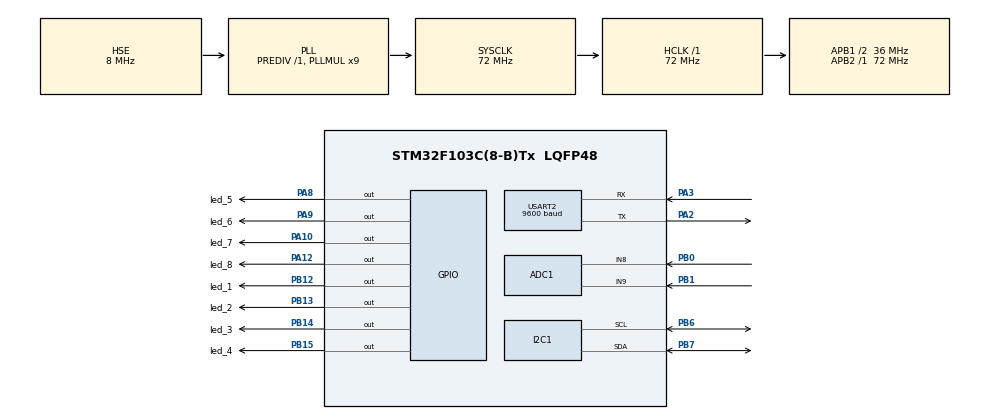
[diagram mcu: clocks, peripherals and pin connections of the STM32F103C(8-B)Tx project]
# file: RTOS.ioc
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ADC1.Channel-10\#ChannelRegularConversion=ADC_CHANNEL_9
ADC1.Channel-11\#ChannelRegularConversion=ADC_CHANNEL_TEMPSENSOR
ADC1.Channel-9\#ChannelRegularConversion=ADC_CHANNEL_8
ADC1.ContinuousConvMode=DISABLE
ADC1.DiscontinuousConvMode=DISABLE
ADC1.NbrOfConversion=3
ADC1.NbrOfConversionFlag=1
ADC1.Rank-10\#ChannelRegularConversion=2
ADC1.Rank-11\#ChannelRegularConversion=3
ADC1.Rank-9\#ChannelRegularConversion=1
ADC1.SamplingTime-10\#ChannelRegularConversion=ADC_SAMPLETIME_13CYCLES_5
ADC1.SamplingTime-11\#ChannelRegularConversion=ADC_SAMPLETIME_13CYCLES_5
ADC1.SamplingTime-9\#ChannelRegularConversion=ADC_SAMPLETIME_13CYCLES_5
ADC1.master=1
Dma.ADC1.0.Direction=DMA_PERIPH_TO_MEMORY
Dma.ADC1.0.Instance=DMA1_Channel1
Dma.ADC1.0.MemDataAlignment=DMA_MDATAALIGN_WORD
Dma.ADC1.0.MemInc=DMA_MINC_ENABLE
Dma.ADC1.0.Mode=DMA_CIRCULAR
Dma.ADC1.0.PeriphDataAlignment=DMA_PDATAALIGN_HALFWORD
Dma.ADC1.0.PeriphInc=DMA_PINC_DISABLE
Dma.ADC1.0.Priority=DMA_PRIORITY_HIGH
Dma.Request0=ADC1
FREERTOS.Mutexes01=lcdMutex,Dynamic,NULL;adcMutex,Dynamic,NULL
FREERTOS.Tasks01=Task01,0,256,StartTask01,Default,NULL,Dynamic,NULL,NULL;Task02,0,256,StartTask02,Default,NULL,Dynamic,NULL,NULL;Task03,-2,256,StartTask03,Default,NULL,Dynamic,NULL,NULL;Task04,-3,256,StartTask04,Default,NULL,Dynamic,NULL,NULL;Task05,-3,256,StartTask05,Default,NULL,Dynamic,NULL,NULL
FREERTOS.configMINIMAL_STACK_SIZE=256
FREERTOS.configTOTAL_HEAP_SIZE=15000
Mcu.Family=STM32F1
Mcu.Name=STM32F103C(8-B)Tx
Mcu.Package=LQFP48
NVIC.DMA1_Channel1_IRQn=true\:5\:0\:false\:false\:true\:true\:false\:true\:true
NVIC.PriorityGroup=NVIC_PRIORITYGROUP_4
PA10.GPIO_Label=led_7
PA10.Signal=GPIO_Output
PA12.GPIO_Label=led_8
PA12.Signal=GPIO_Output
PA13.Mode=Serial_Wire
PA13.Signal=SYS_JTMS-SWDIO
PA14.Mode=Serial_Wire
PA14.Signal=SYS_JTCK-SWCLK
PA2.Mode=Asynchronous
PA2.Signal=USART2_TX
PA3.Mode=Asynchronous
PA3.Signal=USART2_RX
PA8.GPIO_Label=led_5
PA8.Signal=GPIO_Output
PA9.GPIO_Label=led_6
PA9.Signal=GPIO_Output
PB0.Signal=ADCx_IN8
PB1.Signal=ADCx_IN9
PB12.GPIO_Label=led_1
PB12.Signal=GPIO_Output
PB13.GPIO_Label=led_2
PB13.Signal=GPIO_Output
PB14.GPIO_Label=led_3
PB14.Signal=GPIO_Output
PB15.GPIO_Label=led_4
PB15.Signal=GPIO_Output
PB6.Mode=I2C
PB6.Signal=I2C1_SCL
PB7.Mode=I2C
PB7.Signal=I2C1_SDA
PC14-OSC32_IN.Mode=LSE-External-Oscillator
PC14-OSC32_IN.Signal=RCC_OSC32_IN
PC15-OSC32_OUT.Mode=LSE-External-Oscillator
PC15-OSC32_OUT.Signal=RCC_OSC32_OUT
PD0-OSC_IN.Mode=HSE-External-Oscillator
PD0-OSC_IN.Signal=RCC_OSC_IN
PD1-OSC_OUT.Mode=HSE-External-Oscillator
PD1-OSC_OUT.Signal=RCC_OSC_OUT
ProjectManager.HeapSize=0x200
ProjectManager.StackSize=0x400
ProjectManager.TargetToolchain=Makefile
RCC.ADCPresc=RCC_ADCPCLK2_DIV6
RCC.AHBFreq_Value=72000000
RCC.APB1CLKDivider=RCC_HCLK_DIV2
RCC.APB1Freq_Value=36000000
RCC.APB1TimFreq_Value=72000000
RCC.APB2Freq_Value=72000000
RCC.APB2TimFreq_Value=72000000
RCC.HCLKFreq_Value=72000000
RCC.PLLMUL=RCC_PLL_MUL9
RCC.PLLSourceVirtual=RCC_PLLSOURCE_HSE
RCC.SYSCLKFreq_VALUE=72000000
RCC.SYSCLKSource=RCC_SYSCLKSOURCE_PLLCLK
RCC.USBFreq_Value=72000000
SH.ADCx_IN8.0=ADC1_IN8,IN8
SH.ADCx_IN9.0=ADC1_IN9,IN9
USART2.BaudRate=9600
USART2.VirtualMode=VM_ASYNC
VP_ADC1_TempSens_Input.Mode=IN-TempSens
VP_FREERTOS_VS_CMSIS_V1.Mode=CMSIS_V1
board=custom

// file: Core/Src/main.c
/* USER CODE BEGIN Header */
/**
  ******************************************************************************
  * @file           : main.c
  * @brief          : Main program body
  ******************************************************************************
  * @attention
  *
  * Copyright (c) 2024 STMicroelectronics.
  * All rights reserved.
  *
  * This software is licensed under terms that can be found in the LICENSE file
  * in the root directory of this software component.
  * If no LICENSE file comes with this software, it is provided AS-IS.
  *
  ******************************************************************************
  */
/* USER CODE END Header */
#include "main.h"
#include "cmsis_os.h"

/* USER CODE BEGIN Includes */
#include "stdio.h"
#include "string.h"
#include "semphr.h"
#include "stdbool.h"
#include "math.h"
/* USER CODE END Includes */

ADC_HandleTypeDef hadc1;
DMA_HandleTypeDef hdma_adc1;

I2C_HandleTypeDef hi2c1;

UART_HandleTypeDef huart2;

osThreadId Task01Handle;
osThreadId Task02Handle;
osThreadId Task03Handle;
osThreadId Task04Handle;
osThreadId Task05Handle;
osMutexId lcdMutexHandle;
osMutexId adcMutexHandle;

void SystemClock_Config(void);
static void MX_GPIO_Init(void);
static void MX_DMA_Init(void);
static void MX_I2C1_Init(void);
static void MX_ADC1_Init(void);
static void MX_USART2_UART_Init(void);
void StartTask01(void const * argument);
void StartTask02(void const * argument);
void StartTask03(void const * argument);
void StartTask04(void const * argument);
void StartTask05(void const * argument);

/* USER CODE BEGIN 0 */

const uint8_t DS1307_ADDRESS_WRITE =  0xD0;
const uint8_t DS1307_ADDRESS_READ =  0xD1;
const uint8_t LCD_ADDRESS = 0x4E;
uint8_t res[50];

uint8_t data_buffer[50];
uint8_t data_receive;

uint32_t last_time_IT = 0;

GPIO_TypeDef* listport[] = {led_1_GPIO_Port, led_2_GPIO_Port, led_3_GPIO_Port, led_4_GPIO_Port,
		  led_5_GPIO_Port,led_6_GPIO_Port,led_7_GPIO_Port,led_8_GPIO_Port};

uint16_t listpin[] = {led_1_Pin, led_2_Pin, led_3_Pin, led_4_Pin, led_5_Pin, led_6_Pin,
		  led_7_Pin,led_8_Pin};

void Binary_Count_Up(GPIO_TypeDef* listport[], uint16_t listpin[])
{

	for(uint8_t count = 0; count < 256; count++)
	{
		for(int led = 0 ; led < 8; led++)
		{
			if(count & (1 << led))
			{
				HAL_GPIO_WritePin(listport[led], listpin[led],1);
			}else
			{
				HAL_GPIO_WritePin(listport[led], listpin[led],0);
			}
		}
		osDelay(1000);
	}
}

void get_adc_value(uint16_t adc_val[]) {
  int chanel = 0;
  while (1) {
    HAL_ADC_Start(&hadc1);
    HAL_ADC_PollForConversion(&hadc1, 10);
    adc_val[chanel] = HAL_ADC_GetValue(&hadc1);
    chanel++;
    if (chanel == 3) {
      return;
    }
    osDelay(10);
  }
}

uint8_t Dec_to_BCD(uint8_t dec)
{
	dec = ((dec / 10) << 4) | (dec % 10);

    return dec;
}

uint8_t BCD_to_Dec(uint8_t bcd)
{
	bcd = ((bcd >> 4) * 10) + (bcd & 0x0F);

    return bcd;
}
void DS1307_SetTime(uint8_t hours, uint8_t minutes, uint8_t seconds)
{
    uint8_t data[4];

	data[0] = 0x00;
    data[1] = Dec_to_BCD(seconds);
	data[2] = Dec_to_BCD(minutes);
    data[3] = Dec_to_BCD(hours);

	HAL_I2C_Master_Transmit(&hi2c1,DS1307_ADDRESS_WRITE , &data[0], 4, 100);

}

void DS1307_SetDate(uint8_t day, uint8_t month, uint16_t year)
{
    uint8_t data[4];

	data[0] = 0x04;
    data[1] = Dec_to_BCD(day);
    data[2] = Dec_to_BCD(month);
	data[3] = Dec_to_BCD(year);

	HAL_I2C_Master_Transmit(&hi2c1, DS1307_ADDRESS_WRITE , &data[0], 4, 100);
}

void DS1307_GetTime(uint8_t *hours, uint8_t *minutes, uint8_t *seconds)
{
    uint8_t data[3];
	uint8_t reg = 0x00;

	HAL_I2C_Master_Transmit(&hi2c1, DS1307_ADDRESS_WRITE , &reg, 1, 10);
	HAL_I2C_Master_Receive(&hi2c1, DS1307_ADDRESS_READ, &data[0], 3, 50);
    *seconds = BCD_to_Dec(data[0]);
	*minutes = BCD_to_Dec(data[1]);
    *hours   = BCD_to_Dec(data[2]);
}

void DS1307_GetDate(uint8_t *day, uint8_t *month, uint16_t *year)
{
    uint8_t data[3];
	uint8_t reg = 0x04;

	HAL_I2C_Master_Transmit(&hi2c1, DS1307_ADDRESS_WRITE,&reg, 1, 100);
	HAL_I2C_Master_Receive(&hi2c1, DS1307_ADDRESS_READ, &data[0], 3, 100);
    *day    = BCD_to_Dec(data[0]);
    *month  = BCD_to_Dec(data[1]);
    *year   = 2000 + BCD_to_Dec(data[2]);
}

void lcd_write_nibble(uint8_t rs, uint8_t data)
{
	uint8_t dat_lcd;

	dat_lcd = ((data << 4) & 0xF0) | 0x0C | rs;
	HAL_I2C_Master_Transmit(&hi2c1, LCD_ADDRESS, &dat_lcd, 1, 20);

	dat_lcd = ((data << 4) & 0xF0) | 0x08 | rs;
	HAL_I2C_Master_Transmit(&hi2c1, LCD_ADDRESS, &dat_lcd, 1, 20);

}

void lcd_send_cmd(uint8_t cmd)
{
	lcd_write_nibble(0, (cmd>>4)&0x0F);
	lcd_write_nibble(0, cmd&0x0F);

	HAL_Delay(2);
}

void lcd_send_data(uint8_t data)
{
	lcd_write_nibble(1, (data>>4)&0x0F);
	lcd_write_nibble(1, data & 0x0F);

	HAL_Delay(2);
}

void lcd_init(void)
{
	HAL_Delay(20);

	lcd_write_nibble(0, 0x03); HAL_Delay(5);
	lcd_write_nibble(0, 0x03); HAL_Delay(1);
	lcd_write_nibble(0, 0x03); HAL_Delay(1);

	lcd_write_nibble(0, 0x02); HAL_Delay(1);

	lcd_send_cmd(0x28);
	lcd_send_cmd(0x0C);
	lcd_send_cmd(0x01);
	lcd_send_cmd(0x06);
}

void lcd_send_string(char *data)
{
	while(*data)
	{

		lcd_send_data(*data++);
	}
}

void lcd_gotoxy(uint8_t row, uint8_t col)
{
	uint8_t coordinates = 0;

	switch(row)
	{
	case 0:
		coordinates = 0x80 | col;
		break;
	case 1:
		coordinates = 0xC0 | col;
		break;
	}
	lcd_send_cmd(coordinates);
}

void lcd_clear(void)
{
    lcd_send_cmd(0x01);
	HAL_Delay(2);
}

void LCD_Write(int row, int col, char* data)
{
	if (osMutexWait(lcdMutexHandle, osWaitForever) == osOK)
	{
		lcd_gotoxy(row, col);
		lcd_send_string(data);
			osMutexRelease(lcdMutexHandle);
	}
}

uint32_t adc_buffer[3];
uint32_t adc_val[3];
volatile bool adc_flag = 0;

void HAL_ADC_ConvCpltCallback(ADC_HandleTypeDef* hadc)
{

	if(hadc->Instance == ADC1)
	{
		 adc_flag = 1;

	}
}

/* USER CODE END 0 */

int main(void)
{

  /* MCU Configuration--------------------------------------------------------*/

  /* Reset of all peripherals, Initializes the Flash interface and the Systick. */
  HAL_Init();

  /* Configure the system clock */
  SystemClock_Config();

  /* Initialize all configured peripherals */
  MX_GPIO_Init();
  MX_DMA_Init();
  MX_I2C1_Init();
  MX_ADC1_Init();
  MX_USART2_UART_Init();
  /* USER CODE BEGIN 2 */
	lcd_init();
	lcd_clear();
  /* USER CODE END 2 */

  /* Create the mutex(es) */
  /* definition and creation of lcdMutex */
  osMutexDef(lcdMutex);
  lcdMutexHandle = osMutexCreate(osMutex(lcdMutex));

  /* definition and creation of adcMutex */
  osMutexDef(adcMutex);
  adcMutexHandle = osMutexCreate(osMutex(adcMutex));

  /* Create the thread(s) */
  /* definition and creation of Task01 */
  osThreadDef(Task01, StartTask01, osPriorityNormal, 0, 256);
  Task01Handle = osThreadCreate(osThread(Task01), NULL);

  /* definition and creation of Task02 */
  osThreadDef(Task02, StartTask02, osPriorityNormal, 0, 256);
  Task02Handle = osThreadCreate(osThread(Task02), NULL);

  /* definition and creation of Task03 */
  osThreadDef(Task03, StartTask03, osPriorityLow, 0, 256);
  Task03Handle = osThreadCreate(osThread(Task03), NULL);

  /* definition and creation of Task04 */
  osThreadDef(Task04, StartTask04, osPriorityIdle, 0, 256);
  Task04Handle = osThreadCreate(osThread(Task04), NULL);

  /* definition and creation of Task05 */
  osThreadDef(Task05, StartTask05, osPriorityIdle, 0, 256);
  Task05Handle = osThreadCreate(osThread(Task05), NULL);

  /* Start scheduler */
  osKernelStart();

  /* We should never get here as control is now taken by the scheduler */
  /* Infinite loop */
  while (1)
  {

  }
}

void SystemClock_Config(void)
{
  RCC_OscInitTypeDef RCC_OscInitStruct = {0};
  RCC_ClkInitTypeDef RCC_ClkInitStruct = {0};
  RCC_PeriphCLKInitTypeDef PeriphClkInit = {0};

  /** Initializes the RCC Oscillators according to the specified parameters
  * in the RCC_OscInitTypeDef structure.
  */
  RCC_OscInitStruct.OscillatorType = RCC_OSCILLATORTYPE_HSE;
  RCC_OscInitStruct.HSEState = RCC_HSE_ON;
  RCC_OscInitStruct.HSEPredivValue = RCC_HSE_PREDIV_DIV1;
  RCC_OscInitStruct.HSIState = RCC_HSI_ON;
  RCC_OscInitStruct.PLL.PLLState = RCC_PLL_ON;
  RCC_OscInitStruct.PLL.PLLSource = RCC_PLLSOURCE_HSE;
  RCC_OscInitStruct.PLL.PLLMUL = RCC_PLL_MUL9;
  if (HAL_RCC_OscConfig(&RCC_OscInitStruct) != HAL_OK)
  {
    Error_Handler();
  }

  /** Initializes the CPU, AHB and APB buses clocks
  */
  RCC_ClkInitStruct.ClockType = RCC_CLOCKTYPE_HCLK|RCC_CLOCKTYPE_SYSCLK
                              |RCC_CLOCKTYPE_PCLK1|RCC_CLOCKTYPE_PCLK2;
  RCC_ClkInitStruct.SYSCLKSource = RCC_SYSCLKSOURCE_PLLCLK;
  RCC_ClkInitStruct.AHBCLKDivider = RCC_SYSCLK_DIV1;
  RCC_ClkInitStruct.APB1CLKDivider = RCC_HCLK_DIV2;
  RCC_ClkInitStruct.APB2CLKDivider = RCC_HCLK_DIV1;

  if (HAL_RCC_ClockConfig(&RCC_ClkInitStruct, FLASH_LATENCY_2) != HAL_OK)
  {
    Error_Handler();
  }
  PeriphClkInit.PeriphClockSelection = RCC_PERIPHCLK_ADC;
  PeriphClkInit.AdcClockSelection = RCC_ADCPCLK2_DIV6;
  if (HAL_RCCEx_PeriphCLKConfig(&PeriphClkInit) != HAL_OK)
  {
    Error_Handler();
  }
}

static void MX_ADC1_Init(void)
{

  ADC_ChannelConfTypeDef sConfig = {0};

  /** Common config
  */
  hadc1.Instance = ADC1;
  hadc1.Init.ScanConvMode = ADC_SCAN_ENABLE;
  hadc1.Init.ContinuousConvMode = DISABLE;
  hadc1.Init.DiscontinuousConvMode = DISABLE;
  hadc1.Init.ExternalTrigConv = ADC_SOFTWARE_START;
  hadc1.Init.DataAlign = ADC_DATAALIGN_RIGHT;
  hadc1.Init.NbrOfConversion = 3;
  if (HAL_ADC_Init(&hadc1) != HAL_OK)
  {
    Error_Handler();
  }

  /** Configure Regular Channel
  */
  sConfig.Channel = ADC_CHANNEL_8;
  sConfig.Rank = ADC_REGULAR_RANK_1;
  sConfig.SamplingTime = ADC_SAMPLETIME_13CYCLES_5;
  if (HAL_ADC_ConfigChannel(&hadc1, &sConfig) != HAL_OK)
  {
    Error_Handler();
  }

  /** Configure Regular Channel
  */
  sConfig.Channel = ADC_CHANNEL_9;
  sConfig.Rank = ADC_REGULAR_RANK_2;
  if (HAL_ADC_ConfigChannel(&hadc1, &sConfig) != HAL_OK)
  {
    Error_Handler();
  }

  /** Configure Regular Channel
  */
  sConfig.Channel = ADC_CHANNEL_TEMPSENSOR;
  sConfig.Rank = ADC_REGULAR_RANK_3;
  if (HAL_ADC_ConfigChannel(&hadc1, &sConfig) != HAL_OK)
  {
    Error_Handler();
  }

}

static void MX_I2C1_Init(void)
{

  hi2c1.Instance = I2C1;
  hi2c1.Init.ClockSpeed = 100000;
  hi2c1.Init.DutyCycle = I2C_DUTYCYCLE_2;
  hi2c1.Init.OwnAddress1 = 0;
  hi2c1.Init.AddressingMode = I2C_ADDRESSINGMODE_7BIT;
  hi2c1.Init.DualAddressMode = I2C_DUALADDRESS_DISABLE;
  hi2c1.Init.OwnAddress2 = 0;
  hi2c1.Init.GeneralCallMode = I2C_GENERALCALL_DISABLE;
  hi2c1.Init.NoStretchMode = I2C_NOSTRETCH_DISABLE;
  if (HAL_I2C_Init(&hi2c1) != HAL_OK)
  {
    Error_Handler();
  }

}

static void MX_USART2_UART_Init(void)
{

  huart2.Instance = USART2;
  huart2.Init.BaudRate = 9600;
  huart2.Init.WordLength = UART_WORDLENGTH_8B;
  huart2.Init.StopBits = UART_STOPBITS_1;
  huart2.Init.Parity = UART_PARITY_NONE;
  huart2.Init.Mode = UART_MODE_TX_RX;
  huart2.Init.HwFlowCtl = UART_HWCONTROL_NONE;
  huart2.Init.OverSampling = UART_OVERSAMPLING_16;
  if (HAL_UART_Init(&huart2) != HAL_OK)
  {
    Error_Handler();
  }

}

static void MX_DMA_Init(void)
{

  /* DMA controller clock enable */
  __HAL_RCC_DMA1_CLK_ENABLE();

  /* DMA interrupt init */
  /* DMA1_Channel1_IRQn interrupt configuration */
  HAL_NVIC_SetPriority(DMA1_Channel1_IRQn, 5, 0);
  HAL_NVIC_EnableIRQ(DMA1_Channel1_IRQn);

}

static void MX_GPIO_Init(void)
{
  GPIO_InitTypeDef GPIO_InitStruct = {0};

  /* GPIO Ports Clock Enable */
  __HAL_RCC_GPIOC_CLK_ENABLE();
  __HAL_RCC_GPIOD_CLK_ENABLE();
  __HAL_RCC_GPIOA_CLK_ENABLE();
  __HAL_RCC_GPIOB_CLK_ENABLE();

  /*Configure GPIO pin Output Level */
  HAL_GPIO_WritePin(GPIOB, led_1_Pin|led_2_Pin|led_3_Pin|led_4_Pin, GPIO_PIN_RESET);

  /*Configure GPIO pin Output Level */
  HAL_GPIO_WritePin(GPIOA, led_5_Pin|led_6_Pin|led_7_Pin|led_8_Pin, GPIO_PIN_RESET);

  /*Configure GPIO pins : led_1_Pin led_2_Pin led_3_Pin led_4_Pin */
  GPIO_InitStruct.Pin = led_1_Pin|led_2_Pin|led_3_Pin|led_4_Pin;
  GPIO_InitStruct.Mode = GPIO_MODE_OUTPUT_PP;
  GPIO_InitStruct.Pull = GPIO_NOPULL;
  GPIO_InitStruct.Speed = GPIO_SPEED_FREQ_LOW;
  HAL_GPIO_Init(GPIOB, &GPIO_InitStruct);

  /*Configure GPIO pins : led_5_Pin led_6_Pin led_7_Pin led_8_Pin */
  GPIO_InitStruct.Pin = led_5_Pin|led_6_Pin|led_7_Pin|led_8_Pin;
  GPIO_InitStruct.Mode = GPIO_MODE_OUTPUT_PP;
  GPIO_InitStruct.Pull = GPIO_NOPULL;
  GPIO_InitStruct.Speed = GPIO_SPEED_FREQ_LOW;
  HAL_GPIO_Init(GPIOA, &GPIO_InitStruct);

}

void StartTask01(void const * argument)
{
  /* USER CODE BEGIN 5 */
  /* Infinite loop */
  for(;;)
  {
  	Binary_Count_Up(led_port, led_pin);
  }
  /* USER CODE END 5 */
}

void StartTask02(void const * argument)
{
  /* USER CODE BEGIN StartTask02 */

	char data_trans_to_lcd[50];
	uint8_t data_trans_to_pc[50];

	  /* Infinite loop */
  for(;;)
  {

	/*get_adc_value(adc_val);
  	float vr1_value = ((float)adc_val[0] / 4095) * 3.3;
    float vr2_value = ((float)adc_val[1] / 4095) * 3.3;
    float sensor_vol = ((float)adc_val[2] / 4095) * 3.3;
    float temperature = ((1.4 - sensor_vol) / 4.478) + 25;
    sprintf((char *)data_trans_to_pc,"Vr1: %.3f(V), Vr2: %.3f(V)\r\n", vr1_value, vr2_value);
	sprintf(data_trans_to_lcd, "sensor: %.2f(doC)", temperature);
    HAL_UART_Transmit(&huart1, &data_trans_to_pc[0], strlen((char *)data_trans_to_pc), 100);
	lcd_gotoxy(0,2);
	lcd_send_string(data_trans_to_lcd);*/
	if(osMutexWait(adcMutexHandle, osWaitForever) == osOK)
	{
		if(adc_flag)
		{
			adc_flag = 0;
			adc_val[0] = adc_buffer[2];
			float sensor_vol = ((float)adc_val[0] * 3.3)/4095;
			float temp = ((1.4 - sensor_vol) / 0.004478) + 25;
			temp = 2.99;
			sprintf((char *)data_trans_to_pc,"sensor: %.3f(V)\r\n",temp );
			sprintf(data_trans_to_lcd, "sensor: %.2f(doC)", temp);
	 		HAL_UART_Transmit(&huart2, &data_trans_to_pc[0], strlen((char *)data_trans_to_pc), HAL_MAX_DELAY);
			LCD_Write(0,2,data_trans_to_lcd);
		}else
		{
				HAL_ADC_Start_DMA(&hadc1, &adc_buffer[0],3);

		}
			 osMutexRelease(adcMutexHandle);
	}

	osDelay(1000);
  }
  /* USER CODE END StartTask02 */
}

void StartTask03(void const * argument)
{
  /* USER CODE BEGIN StartTask03 */
  /* Infinite loop */
	uint8_t hours;
	uint8_t minutes;
	uint8_t seconds;
	uint8_t day;
	uint8_t month;
	uint16_t year;
	uint8_t date[3] = {28, 10, 24};
	uint8_t time[3] = {22, 0, 0};
	DS1307_SetDate(date[0], date[1], date[2]);
	DS1307_SetTime(time[0], time[1], time[2]);
	char data_to_display[100];

  for(;;)
  {
	DS1307_GetDate(&day, &month, &year);
	DS1307_GetTime(&hours, &minutes, &seconds);

	sprintf(data_to_display,"%02d:%02d:%02d-%02d/%02d/%d",hours, minutes, seconds, day, month, year);
	LCD_Write(1,0,data_to_display);
	osDelay(1000);
  }
  /* USER CODE END StartTask03 */
}

void StartTask04(void const * argument)
{
  for(;;)
  {
    osDelay(1);
  }
}

void StartTask05(void const * argument)
{
  for(;;)
  {
    osDelay(1);
  }
}

void Error_Handler(void)
{
  __disable_irq();
  while (1)
  {
  }
}
